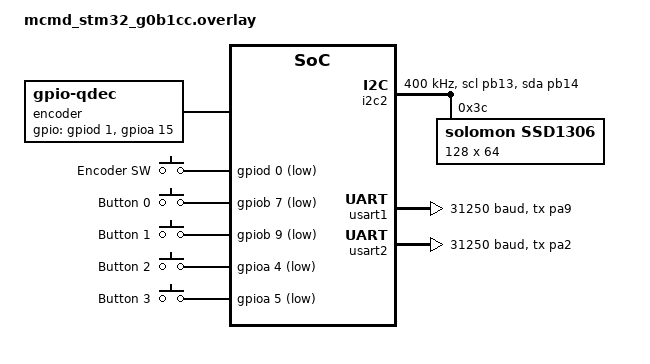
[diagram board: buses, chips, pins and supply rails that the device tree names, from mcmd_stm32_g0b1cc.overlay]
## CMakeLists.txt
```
cmake_minimum_required(VERSION 3.20.0)
list(APPEND DTS_ROOT ${CMAKE_CURRENT_SOURCE_DIR})
find_package(Zephyr REQUIRED HINTS $ENV{ZEPHYR_BASE})
project(custom_mcmd)
zephyr_include_directories(include)
target_sources(app PRIVATE 
        src/main.c
        src/digee_ctrl.c
        src/digee_ui.c
        src/display_hal.c
        src/ssd1306_ctrl.c
        
        src/md_encoder.c
        src/buttons.c
        src/midi.c
        src/clocks.c)
```

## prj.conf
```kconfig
CONFIG_GPIO=y
CONFIG_LOG=y
CONFIG_LOG_MODE_IMMEDIATE=y
CONFIG_LOG_DEFAULT_LEVEL=3
CONFIG_LOG_PRINTK=y
CONFIG_CONSOLE=y
CONFIG_SENSOR=y
CONFIG_BOOT_DELAY=500
CONFIG_I2C=y
CONFIG_DISPLAY=y
CONFIG_COUNTER=y
CONFIG_TIMING_FUNCTIONS=y
CONFIG_SENSOR_ASYNC_API=y
CONFIG_SYSTEM_WORKQUEUE_STACK_SIZE=2048
CONFIG_MAIN_STACK_SIZE=2048
CONFIG_STACK_SENTINEL=y
CONFIG_HW_STACK_PROTECTION=y
CONFIG_INPUT=y
CONFIG_PICOLIBC=y
CONFIG_STDOUT_CONSOLE=y
CONFIG_UART_CONSOLE=y
CONFIG_PRINTK=y
# CONFIG_INPUT_EVENT_DUMP=y
CONFIG_INPUT_MODE_SYNCHRONOUS=y
CONFIG_TICKLESS_KERNEL=y
CONFIG_SYS_CLOCK_TICKS_PER_SEC=100000
```

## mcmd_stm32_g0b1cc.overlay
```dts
/*
 * Application overlay for mcmd_stm32_g0b1cc
 * Adapted from a previous STM32F401CC overlay.
 *
 * Changes from the F401 version:
 *  - Encoder switched from STM32 hardware timer QDEC (TIM3) to software
 *    gpio-qdec, since TIM3 CH1/CH2 aren't wired to the encoder on this
 *    board. SPI1 no longer needs to be disabled as a result (it was only
 *    disabled before to free PA6/PA7 for TIM3).
 *  - OLED moved from I2C1 (PB8/PB9) to I2C2 (PB13/PB14): PB9 is now a
 *    button pin, and PB7 (I2C1's other SDA option) is also a button pin,
 *    so I2C1 has no free SDA pin left. I2C2 doesn't collide with anything
 *    else on this board yet.
 *  - Button pins changed to PB7, PB9, PA4, PA5 per your new wiring.
 *  - Encoder switch moved to PD0 (was PB6 on the F401 board).
 */

#include <zephyr/dt-bindings/i2c/i2c.h>
#include <zephyr/dt-bindings/input/input-event-codes.h>

/* OLED on I2C2 (PB13=SCL, PB14=SDA) */
&i2c2 {
	status = "okay";
	pinctrl-0 = <&i2c2_scl_pb13 &i2c2_sda_pb14>;
	pinctrl-names = "default";
	clock-frequency = <I2C_BITRATE_FAST>;

	ssd1306: ssd1306@3c {
		compatible = "solomon,ssd1306";
		reg = <0x3c>;
		width = <128>;
		height = <64>;
		segment-offset = <0>;
		page-offset = <0>;
		display-offset = <0>;
		multiplex-ratio = <63>;
		prechargep = <0x22>;
		segment-remap;
		com-invdir;
	};
};

/* MIDI OUT (master) - single-wire, TX only, PA9 */
&usart1 {
	status = "okay";
	current-speed = <31250>;
	pinctrl-0 = <&usart1_tx_pa9>;
	pinctrl-names = "default";
	single-wire;
};

/* MIDI OUT (poly) - single-wire, TX only, PA2 */
&usart2 {
	status = "okay";
	current-speed = <31250>;
	pinctrl-0 = <&usart2_tx_pa2>;
	pinctrl-names = "default";
	single-wire;
};

/ {
	chosen {
		zephyr,display = &ssd1306;
		/* usart1 remains console/shell-uart from the base board dts
		 * unless you override it here. If you want NO console since
		 * usart1 is now MIDI-only, uncomment and repoint elsewhere
		 * (e.g. usart4, your debug UART):
		 */
		/* zephyr,console = &usart4; */
		/* zephyr,shell-uart = &usart4; */
	};

	aliases {
		qdec0            = &encoder;
		midi-master-uart = &usart1;
		midi-poly-uart   = &usart2;
	};

	/* Rotary encoder - software GPIO qdec (no hardware timer needed) */
	encoder: qdec {
		compatible = "gpio-qdec";
		gpios = <&gpiod 1 (GPIO_PULL_UP | GPIO_ACTIVE_HIGH)>,   /* ENC_A = PD1 */
			<&gpioa 15 (GPIO_PULL_UP | GPIO_ACTIVE_HIGH)>;  /* ENC_B = PA15 */
		steps-per-period = <4>;   /* adjust if your encoder isn't 4x/detent */
		zephyr,axis = <INPUT_REL_WHEEL>;
		sample-time-us = <2000>;
		idle-timeout-ms = <200>;
	};

	encodersw {
		compatible = "gpio-keys";

		encodersw0: encoder_sw0 {
			gpios = <&gpiod 0 (GPIO_ACTIVE_LOW | GPIO_PULL_UP)>;  /* SW = PD0 */
			label = "Encoder SW";
			zephyr,code = <INPUT_KEY_ENTER>;
		};
	};

	buttons {
		compatible = "gpio-keys";

		button0: button_0 {
			gpios = <&gpiob 7 (GPIO_ACTIVE_LOW | GPIO_PULL_UP)>;
			label = "Button 0";
			zephyr,code = <INPUT_KEY_0>;
		};
		button1: button_1 {
			gpios = <&gpiob 9 (GPIO_ACTIVE_LOW | GPIO_PULL_UP)>;
			label = "Button 1";
			zephyr,code = <INPUT_KEY_1>;
		};
		button2: button_2 {
			gpios = <&gpioa 4 (GPIO_ACTIVE_LOW | GPIO_PULL_UP)>;
			label = "Button 2";
			zephyr,code = <INPUT_KEY_2>;
		};
		button3: button_3 {
			gpios = <&gpioa 5 (GPIO_ACTIVE_LOW | GPIO_PULL_UP)>;
			label = "Button 3";
			zephyr,code = <INPUT_KEY_3>;
		};
	};
};
```

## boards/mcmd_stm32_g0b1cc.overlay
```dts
#include <zephyr/dt-bindings/i2c/i2c.h>
#include <zephyr/dt-bindings/input/input-event-codes.h>
#include <zephyr/dt-bindings/gpio/gpio.h>

/* OLED on I2C2 (PB13=SCL, PB14=SDA) */
&i2c2 {
	status = "okay";
	pinctrl-0 = <&i2c2_scl_pb10 &i2c2_sda_pb11>;
	pinctrl-names = "default";
	clock-frequency = <I2C_BITRATE_FAST>;

	ssd1306: ssd1306@3c {
		compatible = "solomon,ssd1306";
		reg = <0x3c>;
		width = <128>;
		height = <64>;
		segment-offset = <0>;
		page-offset = <0>;
		display-offset = <0>;
		multiplex-ratio = <63>;
		prechargep = <0x22>;
		segment-remap;
		com-invdir;
	};
};

/* MIDI OUT (poly) - single-wire, TX only, PA9 */
&usart1 {
	status = "okay";
	current-speed = <31250>;
	pinctrl-0 = <&usart1_tx_pa9>;
	pinctrl-names = "default";
	single-wire;
};

/* MIDI OUT (master) - single-wire, TX only, PA2 */
&usart2 {
	status = "okay";
	current-speed = <31250>;
	pinctrl-0 = <&usart2_tx_pa2>;
	pinctrl-names = "default";
	single-wire;
};

/ {
	chosen {
		zephyr,display = &ssd1306;
		/* usart1 remains console/shell-uart from the base board dts
		 * unless you override it here. If you want NO console since
		 * usart1 is now MIDI-only, uncomment and repoint elsewhere
		 * (e.g. usart4, your debug UART):
		 */
		zephyr,console = &usart4;
		zephyr,shell-uart = &usart4;
	};

	aliases {
		midi-master-uart = &usart2;
		midi-poly-uart   = &usart1;
	};

	md_encoder: md-encoder {
        compatible = "digee,md-encoder";
        gpios = <&gpiod 0 (GPIO_ACTIVE_HIGH | GPIO_PULL_UP)>, /* phase A */
                <&gpioa 15 (GPIO_ACTIVE_HIGH | GPIO_PULL_UP)>, /* phase B */
				<&gpiod 1 (GPIO_ACTIVE_HIGH | GPIO_PULL_UP)>; /* SW */
    };

	buttons: buttons {
		compatible = "gpio-keys";

		button0: button_0 {
			gpios = <&gpiob 7 (GPIO_ACTIVE_LOW | GPIO_PULL_UP)>;
			label = "Button 0";
			zephyr,code = <INPUT_KEY_0>;
		};
		button1: button_1 {
			gpios = <&gpiob 9 (GPIO_ACTIVE_LOW | GPIO_PULL_UP)>;
			label = "Button 1";
			zephyr,code = <INPUT_KEY_1>;
		};
		button2: button_2 {
			gpios = <&gpioa 4 (GPIO_ACTIVE_LOW | GPIO_PULL_UP)>;
			label = "Button 2";
			zephyr,code = <INPUT_KEY_2>;
		};
		button3: button_3 {
			gpios = <&gpioa 5 (GPIO_ACTIVE_LOW | GPIO_PULL_UP)>;
			label = "Button 3";
			zephyr,code = <INPUT_KEY_3>;
		};
	};
};
```

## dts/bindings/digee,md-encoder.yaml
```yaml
description: Digee manual GPIO quadrature encoder (A/B phase pins)

compatible: "digee,md-encoder"

gpio-cells:
  - pin
  - flags

properties:
  gpios:
    type: phandle-array
    required: true
    description: GPIO phase A and phase B pins, in order [A, B]
```

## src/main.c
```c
#include <stdint.h>
#include <zephyr/kernel.h>
#include <zephyr/logging/log.h>
#include <zephyr/drivers/i2c.h>
#include "digee_ctrl.h"
#include "clocks.h"
#include <zephyr/drivers/sensor.h>


LOG_MODULE_REGISTER(main, LOG_LEVEL_INF);

#define I2C_NODE DT_NODELABEL(i2c1)
#define UPDATE_DELAY 100

int main(void)
{   
    
    printf("Application started\n");

    digee_init();
    midi_clock_timer_init();

    uint32_t last_update = 0;

    while (1) {
        // midi_clock_poll();
        
        uint32_t now = k_uptime_get_32();
        if ((now - last_update) >= UPDATE_DELAY) {
            last_update = now;
            digee_update();
            digee_ui_update();
            
        }
    }
    return 0;
}
```

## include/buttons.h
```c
#ifndef BUTTONS_H
#define BUTTONS_H

#include <stdint.h>

typedef enum {
    BUTTON_1 = 0,
    BUTTON_2,
    BUTTON_4,
    BUTTON_8,
    BUTTON_COUNT
} button_id_t;

typedef enum {
    BUTTON_EVT_PRESSED,
    BUTTON_EVT_RELEASED
} button_evt_t;

typedef void (*button_cb_t)(button_id_t id, button_evt_t);

int buttons_init(button_cb_t);

#endif
```

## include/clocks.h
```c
#ifndef CLOCKS_H
#define CLOCKS_H

#include "midi.h"
#include <stdint.h>
#include <zephyr/kernel.h>
#include <stdbool.h>

#include <zephyr/spinlock.h>

#define CLOCK_TIMER_PRIO  10

#define UCLOCK_INTERNAL 0
#define UCLOCK_EXTERNAL 1

typedef enum {
    MASTER_CLOCK = 0,
    POLY_CLOCK,
} clock_type_t;

typedef struct {
    volatile bool      divide_s;
    volatile bool      paused;
    uint8_t            binary;
    uint8_t            bpm;
} clock_controller_t;

typedef struct {
    midi_dev_t        *midi;
    volatile uint32_t  interval_us;
    volatile uint32_t  next_tick_us;
    volatile uint8_t   tick;
    volatile bool      running;
    clock_type_t       clock_id;  
} midi_clock_dev_t;



#define BPM_TO_US(bpm)         (60000000u / ((bpm) * 24u))
#define POLY_BPM_TO_US_DIV(bpm, num)  (((60000000u) * (16)) / ((bpm) * 24u * (num)))
#define POLY_BPM_TO_US_MULT(bpm, num)   (((60000000u) * (num)) / ((bpm) * 24u * (16)))
uint32_t POLY_BPM_TO_US(clock_controller_t *dev);

typedef void (*step_cb_t)(uint8_t step);
void clock_set_step_callback(step_cb_t cb);

int  clock_ctrl_init(clock_controller_t *dev);
int  clock_init(midi_clock_dev_t *dev, midi_dev_t *midi, clock_type_t type);
void clock_start(clock_controller_t *dev);
void clock_stop(clock_controller_t *dev);
void clock_update(clock_controller_t *dev);
// void midi_clock_poll(void);
void midi_clock_timer_init(void);

void midi_clock_start(midi_clock_dev_t *dev);
void midi_clock_stop(midi_clock_dev_t *dev);
void midi_clock_update(midi_clock_dev_t *dev, clock_controller_t *clock);
void midi_clock_update_poly(midi_clock_dev_t *dev, uint8_t bpm, bool divide, uint8_t binary_prev_num);
void midi_clock_sync_poly(midi_clock_dev_t *dev, uint8_t bpm, bool divide, uint8_t binary_new_num);

void midi_clock_set_mode(uint8_t mode);
void midi_clock_clock_me(void);
float midi_clock_get_tempo(void);

#endif
```

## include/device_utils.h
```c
#ifndef DEVICE_UTILS_H
#define DEVICE_UTILS_H

#include <zephyr/device.h>

#define DEVICE_INIT_CHECK(dev, name)             \
    do {                                         \
        if (!device_is_ready(dev)) {             \
            LOG_ERR(name " device not ready");   \
            return -ENODEV;                      \
        }                                        \
        LOG_INF(name " device ready");           \
    } while (0)

#endif
```

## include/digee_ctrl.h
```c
#ifndef DIGEE_CTRL_H
#define  DIGEE_CTRL_H

#include <stdint.h>
#include <stdbool.h>
#include "clocks.h"
#include "md_encoder.h"

#define DIGEE_FIXED     16
#define BINARY_ONE      0
#define BINARY_TWO      1
#define BINARY_FOUR     2
#define BINARY_EIGHT    3

typedef enum {
    MCMD_ACTIVE_PAUSED,
    MCMD_ACTIVE_PLAYING,
    MCMD_ACTIVE_PAUSE,
    MCMD_ACTIVE_PLAY
} MCMD_ACTIVE_STATE;

typedef enum {
    MCMD_MATH_DIVIDED,
    MCMD_MATH_MULTIPLIED,
    MCMD_MATH_DIVIDE,
    MCMD_MATH_MULTIPLY
} MCMD_MATH_STATE;

typedef struct {
    uint8_t             binary_ui;
    bool                divide_s_ui;
    MCMD_ACTIVE_STATE   ACTIVE_S;
    MCMD_MATH_STATE     MATH_S;
    md_encoder_btn_evt_t    enc_evt;
    clock_controller_t  clock;
} digee_state_t;

// extern volatile bool ui_dirty;

/* Initialise device state and hardware. Call once at boot. */
void digee_init(void);

/* Main update tick — call from application thread or main loop. */
void digee_update(void);

void digee_ui_update(void);

/* ------------------------------------------------------------------ */
/* State accessors                                                      */
/* ------------------------------------------------------------------ */

/* Returns a read-only pointer to current device state.
 * UI layer uses this to read values for rendering. */
const digee_state_t *digee_get_state(void);


/* ------------------------------------------------------------------ */
/* State mutators — only digee_ctrl changes state                      */
/* ------------------------------------------------------------------ */
void digee_update_clocks();
void digee_increment_bpm(int8_t by);
void digee_set_bpm_poly(uint16_t bpm);
void digee_set_custom(uint8_t custom);
void digee_change_playstate(void);
void digee_change_dividestate(void);


void digee_toggle_pause(void);
void digee_toggle_divide(void);
void digee_toggle_invert(void);
void digee_set_equation_flag(bool value);

#endif /* DIGEE_CTRL_H */
```

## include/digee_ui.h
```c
#ifndef DIGEE_UI_H
#define DIGEE_UI_H

#include "digee_ctrl.h"

/*
 * digee_ui.h - Presentation Layer
 *
 * Reads digee_state_t and composes the display. Never owns state,
 * never mutates digee_state_t, never touches the display device.
 *
 * Drawing order for a full redraw:
 *   1. ui_draw_full() — clears buffer and redraws all elements
 *
 * Or redraw individual regions when only one thing changes:
 *   ui_draw_bpm(), ui_draw_fraction(), etc.
 *
 * After any draw call, the caller is responsible for flushing
 * via display_hal_flush().
 */

/* ------------------------------------------------------------------ */
/* Layout constants                                                     */
/* ------------------------------------------------------------------ */

#define LOGO_X          6
#define LOGO_Y          20
#define LOGO_W          116
#define LOGO_H          25

#define PLAYSTATE_X     80
#define PLAYSTATE_Y     12
#define PLAYSTATE_W     10
#define PLAYSTATE_H     16

#define MATHSTATE_X     80
#define MATHSTATE_Y     38
#define MATHSTATE_W     10
#define MATHSTATE_H     16

#define FRACTION_X      48
#define FRACTION_X_SINGLE 53
#define FRACTION_TOP_Y  10
#define FRACTION_BOT_Y  37
#define FRACTION_W      20
#define FRACTION_H      16

#define BPM_X           11
#define BPM_X_QUAD      4
#define BPM_X_TRIPLE    12
#define BPM_X_DOUBLE    20
#define BPM_X_SINGLE    29
#define BPM_WIDTH       37
#define BPM_MAIN_Y      14
#define BPM_POLY_Y      46

#define DIGIT_X         112

/* ------------------------------------------------------------------ */
/* Boot sequence                                                        */
/* ------------------------------------------------------------------ */

/* Runs the boot animation then clears the buffer.
 * Blocks for the duration of the animation. */
void ui_boot(const char *version);

/* ------------------------------------------------------------------ */
/* Full redraw                                                          */
/* ------------------------------------------------------------------ */

/* Clears the buffer and redraws all UI elements from current state. */
void ui_draw_full(const digee_state_t *s);

/* ------------------------------------------------------------------ */
/* UI internal calc                                                     */
/* ------------------------------------------------------------------ */
uint8_t bpm_x_offset(uint16_t bpm);
uint16_t calc_ui_poly(const digee_state_t *s);

/* ------------------------------------------------------------------ */
/* Partial redraws                                                      */
/* ------------------------------------------------------------------ */
void ui_draw_bpm(const digee_state_t *s);
void ui_draw_fraction(const digee_state_t *s);
void ui_draw_playstate(const digee_state_t *s);
void ui_draw_mathstate(const digee_state_t *s);
void ui_draw_digits(const digee_state_t *s);


#endif /* DIGEE_UI_H */
```

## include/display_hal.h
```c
#ifndef DISPLAY_HAL_H
#define DISPLAY_HAL_H
 
#include <zephyr/kernel.h>
#include <zephyr/drivers/display.h>
#include <zephyr/display/cfb.h>
// #include <stdbool.h> // do we even need this

int display_hal_init(void);

int display_hal_flush(void);

int display_hal_print(uint16_t x, uint16_t y, const char *str);
void display_hal_clear_text(void);
 
#endif /* DISPLAY_HAL_H */
```

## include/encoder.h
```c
#ifndef ENCODER_H
#define ENCODER_H

#include <stdint.h>

typedef void (*encoder_rt_cb_t)(int32_t delta);

/**
 * @param cb      Called with +1 or -1 on each detent step.
 * @param detent  Raw counts per physical click (e.g. 18).
 * @return 0 on success, negative errno on failure.
 */
int encoder_rt_init(encoder_rt_cb_t cb, int32_t detent);

typedef enum {
    ENC_BUTTON_EVT_NONE,
    ENC_BUTTON_EVT_RELEASED,
    ENC_BUTTON_EVT_DOUBLE_PRESS
} enc_button_evt_t;

typedef void (*encoder_btn_cb_t)(enc_button_evt_t);

int encoder_btn_init(encoder_btn_cb_t cb);

#endif /* ENCODER_H */
```

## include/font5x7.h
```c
#ifndef FONT5X7_H
#define FONT5X7_H

#include <stdint.h>

/* 
 * 5x7 bitmap font, column format (one byte per column, LSB = top row)
 * Covers ASCII 32 (space) to 126 (~)
 * 95 characters * 5 bytes = 475 bytes total in flash
 *
 * To get a character: font5x7[c - 32]
 * Each entry is 5 bytes, one per column, bits 0-6 = rows top to bottom
 */

#define FONT5X7_WIDTH   5
#define FONT5X7_HEIGHT  7
#define FONT5X7_FIRST   32   /* ASCII space */
#define FONT5X7_LAST    126  /* ASCII ~ */

static const uint8_t font5x7[][FONT5X7_WIDTH] = {
    {0x00, 0x00, 0x00, 0x00, 0x00}, /* 32 space */
    {0x00, 0x00, 0x5F, 0x00, 0x00}, /* 33 ! */
    {0x00, 0x07, 0x00, 0x07, 0x00}, /* 34 " */
    {0x14, 0x7F, 0x14, 0x7F, 0x14}, /* 35 # */
    {0x24, 0x2A, 0x7F, 0x2A, 0x12}, /* 36 $ */
    {0x23, 0x13, 0x08, 0x64, 0x62}, /* 37 % */
    {0x36, 0x49, 0x55, 0x22, 0x50}, /* 38 & */
    {0x00, 0x05, 0x03, 0x00, 0x00}, /* 39 ' */
    {0x00, 0x1C, 0x22, 0x41, 0x00}, /* 40 ( */
    {0x00, 0x41, 0x22, 0x1C, 0x00}, /* 41 ) */
    {0x14, 0x08, 0x3E, 0x08, 0x14}, /* 42 * */
    {0x08, 0x08, 0x3E, 0x08, 0x08}, /* 43 + */
    {0x00, 0x50, 0x30, 0x00, 0x00}, /* 44 , */
    {0x08, 0x08, 0x08, 0x08, 0x08}, /* 45 - */
    {0x00, 0x60, 0x60, 0x00, 0x00}, /* 46 . */
    {0x20, 0x10, 0x08, 0x04, 0x02}, /* 47 / */
    {0x3E, 0x51, 0x49, 0x45, 0x3E}, /* 48 0 */
    {0x00, 0x42, 0x7F, 0x40, 0x00}, /* 49 1 */
    {0x42, 0x61, 0x51, 0x49, 0x46}, /* 50 2 */
    {0x21, 0x41, 0x45, 0x4B, 0x31}, /* 51 3 */
    {0x18, 0x14, 0x12, 0x7F, 0x10}, /* 52 4 */
    {0x27, 0x45, 0x45, 0x45, 0x39}, /* 53 5 */
    {0x3C, 0x4A, 0x49, 0x49, 0x30}, /* 54 6 */
    {0x01, 0x71, 0x09, 0x05, 0x03}, /* 55 7 */
    {0x36, 0x49, 0x49, 0x49, 0x36}, /* 56 8 */
    {0x06, 0x49, 0x49, 0x29, 0x1E}, /* 57 9 */
    {0x00, 0x36, 0x36, 0x00, 0x00}, /* 58 : */
    {0x00, 0x56, 0x36, 0x00, 0x00}, /* 59 ; */
    {0x08, 0x14, 0x22, 0x41, 0x00}, /* 60 < */
    {0x14, 0x14, 0x14, 0x14, 0x14}, /* 61 = */
    {0x00, 0x41, 0x22, 0x14, 0x08}, /* 62 > */
    {0x02, 0x01, 0x51, 0x09, 0x06}, /* 63 ? */
    {0x32, 0x49, 0x79, 0x41, 0x3E}, /* 64 @ */
    {0x7E, 0x11, 0x11, 0x11, 0x7E}, /* 65 A */
    {0x7F, 0x49, 0x49, 0x49, 0x36}, /* 66 B */
    {0x3E, 0x41, 0x41, 0x41, 0x22}, /* 67 C */
    {0x7F, 0x41, 0x41, 0x22, 0x1C}, /* 68 D */
    {0x7F, 0x49, 0x49, 0x49, 0x41}, /* 69 E */
    {0x7F, 0x09, 0x09, 0x09, 0x01}, /* 70 F */
    {0x3E, 0x41, 0x49, 0x49, 0x7A}, /* 71 G */
    {0x7F, 0x08, 0x08, 0x08, 0x7F}, /* 72 H */
    {0x00, 0x41, 0x7F, 0x41, 0x00}, /* 73 I */
    {0x20, 0x40, 0x41, 0x3F, 0x01}, /* 74 J */
    {0x7F, 0x08, 0x14, 0x22, 0x41}, /* 75 K */
    {0x7F, 0x40, 0x40, 0x40, 0x40}, /* 76 L */
    {0x7F, 0x02, 0x0C, 0x02, 0x7F}, /* 77 M */
    {0x7F, 0x04, 0x08, 0x10, 0x7F}, /* 78 N */
    {0x3E, 0x41, 0x41, 0x41, 0x3E}, /* 79 O */
    {0x7F, 0x09, 0x09, 0x09, 0x06}, /* 80 P */
    {0x3E, 0x41, 0x51, 0x21, 0x5E}, /* 81 Q */
    {0x7F, 0x09, 0x19, 0x29, 0x46}, /* 82 R */
    {0x46, 0x49, 0x49, 0x49, 0x31}, /* 83 S */
    {0x01, 0x01, 0x7F, 0x01, 0x01}, /* 84 T */
    {0x3F, 0x40, 0x40, 0x40, 0x3F}, /* 85 U */
    {0x1F, 0x20, 0x40, 0x20, 0x1F}, /* 86 V */
    {0x3F, 0x40, 0x38, 0x40, 0x3F}, /* 87 W */
    {0x63, 0x14, 0x08, 0x14, 0x63}, /* 88 X */
    {0x07, 0x08, 0x70, 0x08, 0x07}, /* 89 Y */
    {0x61, 0x51, 0x49, 0x45, 0x43}, /* 90 Z */
    {0x00, 0x7F, 0x41, 0x41, 0x00}, /* 91 [ */
    {0x02, 0x04, 0x08, 0x10, 0x20}, /* 92 \ */
    {0x00, 0x41, 0x41, 0x7F, 0x00}, /* 93 ] */
    {0x04, 0x02, 0x01, 0x02, 0x04}, /* 94 ^ */
    {0x40, 0x40, 0x40, 0x40, 0x40}, /* 95 _ */
    {0x00, 0x01, 0x02, 0x04, 0x00}, /* 96 ` */
    {0x20, 0x54, 0x54, 0x54, 0x78}, /* 97 a */
    {0x7F, 0x48, 0x44, 0x44, 0x38}, /* 98 b */
    {0x38, 0x44, 0x44, 0x44, 0x20}, /* 99 c */
    {0x38, 0x44, 0x44, 0x48, 0x7F}, /* 100 d */
    {0x38, 0x54, 0x54, 0x54, 0x18}, /* 101 e */
    {0x08, 0x7E, 0x09, 0x01, 0x02}, /* 102 f */
    {0x0C, 0x52, 0x52, 0x52, 0x3E}, /* 103 g */
    {0x7F, 0x08, 0x04, 0x04, 0x78}, /* 104 h */
    {0x00, 0x44, 0x7D, 0x40, 0x00}, /* 105 i */
    {0x20, 0x40, 0x44, 0x3D, 0x00}, /* 106 j */
    {0x7F, 0x10, 0x28, 0x44, 0x00}, /* 107 k */
    {0x00, 0x41, 0x7F, 0x40, 0x00}, /* 108 l */
    {0x7C, 0x04, 0x18, 0x04, 0x78}, /* 109 m */
    {0x7C, 0x08, 0x04, 0x04, 0x78}, /* 110 n */
    {0x38, 0x44, 0x44, 0x44, 0x38}, /* 111 o */
    {0x7C, 0x14, 0x14, 0x14, 0x08}, /* 112 p */
    {0x08, 0x14, 0x14, 0x18, 0x7C}, /* 113 q */
    {0x7C, 0x08, 0x04, 0x04, 0x08}, /* 114 r */
    {0x48, 0x54, 0x54, 0x54, 0x20}, /* 115 s */
    {0x04, 0x3F, 0x44, 0x40, 0x20}, /* 116 t */
    {0x3C, 0x40, 0x40, 0x40, 0x7C}, /* 117 u */
    {0x1C, 0x20, 0x40, 0x20, 0x1C}, /* 118 v */
    {0x3C, 0x40, 0x30, 0x40, 0x3C}, /* 119 w */
    {0x44, 0x28, 0x10, 0x28, 0x44}, /* 120 x */
    {0x0C, 0x50, 0x50, 0x50, 0x3C}, /* 121 y */
    {0x44, 0x64, 0x54, 0x4C, 0x44}, /* 122 z */
    {0x00, 0x08, 0x36, 0x41, 0x00}, /* 123 { */
    {0x00, 0x00, 0x7F, 0x00, 0x00}, /* 124 | */
    {0x00, 0x41, 0x36, 0x08, 0x00}, /* 125 } */
    {0x10, 0x08, 0x08, 0x10, 0x08}, /* 126 ~ */
};

#endif /* FONT5X7_H */
```

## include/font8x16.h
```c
/*
 * font8x16_roboto.h — RobotoMono 8x16 bitmap font, full ASCII 32-126
 *
 * Row format: 1 byte per row, 8 pixels wide (MSB = leftmost pixel)
 * 16 rows per character (rows 0-3 blank, rows 4-14 ink, row 15 blank)
 *
 * Reference glyphs (0-9 + - * / % . space :) are preserved exactly.
 * Remaining glyphs rendered from RobotoMono-VariableFont_wght.ttf
 *
 * Usage:
 *   const roboto_glyph_t *g = font_roboto_get('A');
 *   uint8_t row_byte = g->data[row]; // MSB = leftmost pixel
 */

#ifndef FONT8X16_ROBOTO_H
#define FONT8X16_ROBOTO_H

#include <stdint.h>

#define FONT_ROBOTO_WIDTH   8
#define FONT_ROBOTO_HEIGHT  16

typedef struct {
    char    c;
    uint8_t data[FONT_ROBOTO_HEIGHT];
} roboto_glyph_t;

static const roboto_glyph_t font_roboto_8x16[] = {
    {' ', {0x00, 0x00, 0x00, 0x00, 0x00, 0x00, 0x00, 0x00, 0x00, 0x00, 0x00, 0x00, 0x00, 0x00, 0x00, 0x00}},  /* ref *//* 32 */
    {'!', {0x00, 0x00, 0x00, 0x00, 0x00, 0x7C, 0x7C, 0x7C, 0x7C, 0x7C, 0x00, 0x3C, 0x3C, 0x00, 0x00, 0x00}},          /* 33 */
    {'"', {0x00, 0x00, 0x00, 0x00, 0x00, 0x66, 0x66, 0x00, 0x00, 0x00, 0x00, 0x00, 0x00, 0x00, 0x00, 0x00}},          /* 34 */
    {'#', {0x00, 0x00, 0x00, 0x00, 0x00, 0x14, 0x14, 0x7E, 0x34, 0x3C, 0x7E, 0x28, 0x00, 0x00, 0x00, 0x00}},          /* 35 */
    {'$', {0x00, 0x00, 0x00, 0x00, 0x18, 0x3C, 0x66, 0x60, 0x38, 0x0E, 0x42, 0x66, 0x18, 0x00, 0x00, 0x00}},          /* 36 */
    {'%', {0x00, 0x00, 0x00, 0x00, 0x30, 0x48, 0x4A, 0x4A, 0x34, 0x04, 0x0B, 0x0C, 0x14, 0x04, 0x03, 0x00}},  /* ref *//* 37 */
    {'&', {0x00, 0x00, 0x00, 0x00, 0x00, 0x38, 0x2C, 0x28, 0x30, 0x7A, 0x4C, 0x6C, 0x30, 0x00, 0x00, 0x00}},          /* 38 */
    {'\'', {0x00, 0x00, 0x00, 0x00, 0x00, 0x7E, 0x7E, 0x00, 0x00, 0x00, 0x00, 0x00, 0x00, 0x00, 0x00, 0x00}},          /* 39 */
    {'(', {0x00, 0x00, 0x00, 0x00, 0x06, 0x1C, 0x30, 0x70, 0x60, 0x60, 0x60, 0x70, 0x30, 0x18, 0x06, 0x00}},          /* 40 */
    {')', {0x00, 0x00, 0x00, 0x00, 0x60, 0x18, 0x0C, 0x0C, 0x06, 0x06, 0x06, 0x0C, 0x0C, 0x18, 0x60, 0x00}},          /* 41 */
    {'*', {0x00, 0x00, 0x00, 0x00, 0x08, 0x08, 0x6B, 0x3E, 0x1C, 0x14, 0x22, 0x00, 0x00, 0x00, 0x00, 0x00}},  /* ref *//* 42 */
    {'+', {0x00, 0x00, 0x00, 0x00, 0x00, 0x00, 0x00, 0x08, 0x08, 0x08, 0x7F, 0x08, 0x08, 0x08, 0x00, 0x00}},  /* ref *//* 43 */
    {',', {0x00, 0x00, 0x00, 0x00, 0x00, 0x00, 0x00, 0x00, 0x00, 0x00, 0x00, 0x1E, 0x1E, 0x3C, 0x00, 0x00}},          /* 44 */
    {'-', {0x00, 0x00, 0x00, 0x00, 0x00, 0x00, 0x00, 0x00, 0x00, 0x00, 0x7C, 0x00, 0x00, 0x00, 0x00, 0x00}},  /* ref *//* 45 */
    {'.', {0x00, 0x00, 0x00, 0x00, 0x00, 0x00, 0x00, 0x00, 0x00, 0x00, 0x00, 0x00, 0x00, 0x18, 0x18, 0x00}},  /* ref *//* 46 */
    {'/', {0x00, 0x00, 0x00, 0x00, 0x02, 0x04, 0x04, 0x04, 0x08, 0x08, 0x08, 0x10, 0x10, 0x30, 0x20, 0x20}},  /* ref *//* 47 */
    {'0', {0x00, 0x00, 0x00, 0x00, 0x3C, 0x24, 0x42, 0x42, 0x4E, 0x5A, 0x72, 0x42, 0x42, 0x24, 0x3C, 0x00}},  /* ref *//* 48 */
    {'1', {0x00, 0x00, 0x00, 0x00, 0x00, 0x38, 0x68, 0x08, 0x08, 0x08, 0x08, 0x08, 0x08, 0x08, 0x08, 0x00}},  /* ref *//* 49 */
    {'2', {0x00, 0x00, 0x00, 0x00, 0x3C, 0x66, 0x42, 0x02, 0x02, 0x04, 0x08, 0x18, 0x30, 0x20, 0x7F, 0x00}},  /* ref *//* 50 */
    {'3', {0x00, 0x00, 0x00, 0x00, 0x3C, 0x62, 0x42, 0x02, 0x06, 0x1C, 0x06, 0x02, 0x42, 0x66, 0x3C, 0x00}},  /* ref *//* 51 */
    {'4', {0x00, 0x00, 0x00, 0x00, 0x02, 0x06, 0x0E, 0x0A, 0x12, 0x32, 0x22, 0x7F, 0x02, 0x02, 0x02, 0x00}},  /* ref *//* 52 */
    {'5', {0x00, 0x00, 0x00, 0x00, 0x3E, 0x20, 0x20, 0x20, 0x7C, 0x26, 0x02, 0x02, 0x42, 0x66, 0x3C, 0x00}},  /* ref *//* 53 */
    {'6', {0x00, 0x00, 0x00, 0x00, 0x1C, 0x30, 0x20, 0x40, 0x5C, 0x66, 0x42, 0x42, 0x42, 0x26, 0x3C, 0x00}},  /* ref *//* 54 */
    {'7', {0x00, 0x00, 0x00, 0x00, 0x7F, 0x03, 0x02, 0x02, 0x04, 0x04, 0x0C, 0x08, 0x18, 0x10, 0x10, 0x00}},  /* ref *//* 55 */
    {'8', {0x00, 0x00, 0x00, 0x00, 0x3C, 0x66, 0x42, 0x42, 0x66, 0x3C, 0x66, 0x42, 0x42, 0x66, 0x3C, 0x00}},  /* ref *//* 56 */
    {'9', {0x00, 0x00, 0x00, 0x00, 0x3C, 0x64, 0x42, 0x42, 0x42, 0x66, 0x3E, 0x02, 0x04, 0x0C, 0x38, 0x00}},  /* ref *//* 57 */
    {':', {0x00, 0x00, 0x00, 0x00, 0x00, 0x00, 0x00, 0x0C, 0x0C, 0x00, 0x00, 0x00, 0x00, 0x0C, 0x0C, 0x00}},  /* ref *//* 58 */
    {';', {0x00, 0x00, 0x00, 0x00, 0x00, 0x00, 0x00, 0x3E, 0x00, 0x00, 0x00, 0x1C, 0x1C, 0x38, 0x00, 0x00}},          /* 59 */
    {'<', {0x00, 0x00, 0x00, 0x00, 0x00, 0x00, 0x00, 0x06, 0x38, 0x70, 0x1E, 0x02, 0x00, 0x00, 0x00, 0x00}},          /* 60 */
    {'=', {0x00, 0x00, 0x00, 0x00, 0x00, 0x00, 0x00, 0x00, 0x7E, 0x00, 0x7E, 0x00, 0x00, 0x00, 0x00, 0x00}},          /* 61 */
    {'>', {0x00, 0x00, 0x00, 0x00, 0x00, 0x00, 0x00, 0x60, 0x1C, 0x0E, 0x78, 0x00, 0x00, 0x00, 0x00, 0x00}},          /* 62 */
    {'?', {0x00, 0x00, 0x00, 0x00, 0x00, 0x3C, 0x46, 0x06, 0x0C, 0x18, 0x00, 0x00, 0x18, 0x00, 0x00, 0x00}},          /* 63 */
    {'@', {0x00, 0x00, 0x00, 0x00, 0x00, 0x1C, 0x22, 0x5A, 0x62, 0x6A, 0x5C, 0x20, 0x18, 0x00, 0x00, 0x00}},          /* 64 */
    {'A', {0x00, 0x00, 0x18, 0x18, 0x18, 0x3C, 0x24, 0x24, 0x7E, 0x66, 0x42, 0xC3, 0x00, 0x00, 0x00, 0x00}},  /* 65 */
    {'B', {0x00, 0x00, 0xFC, 0xC6, 0xC3, 0xC3, 0xFE, 0xFE, 0xC3, 0xC3, 0xC7, 0xFC, 0x00, 0x00, 0x00, 0x00}},  /* 66 */
    {'C', {0x00, 0x00, 0x3C, 0x66, 0xC3, 0xC0, 0x80, 0x80, 0xC0, 0xC3, 0x66, 0x3C, 0x00, 0x00, 0x00, 0x00}},  /* 67 */
    {'D', {0x00, 0x00, 0xF8, 0xCC, 0x82, 0xC3, 0xC3, 0xC3, 0xC3, 0x82, 0xCE, 0xF8, 0x00, 0x00, 0x00, 0x00}},  /* 68 */
    {'E', {0x00, 0x00, 0xFF, 0xC0, 0xC0, 0xC0, 0xFE, 0xFE, 0xC0, 0xC0, 0xC0, 0xFF, 0x00, 0x00, 0x00, 0x00}},  /* 69 */
    {'F', {0x00, 0x00, 0xFF, 0xC0, 0xC0, 0xC0, 0xC0, 0xFE, 0xC0, 0xC0, 0xC0, 0xC0, 0x00, 0x00, 0x00, 0x00}},  /* 70 */
    {'G', {0x00, 0x00, 0x3C, 0x66, 0xC3, 0xC0, 0x80, 0x8F, 0xC3, 0xC1, 0x63, 0x3E, 0x00, 0x00, 0x00, 0x00}},  /* 71 */
    {'H', {0x00, 0x00, 0x81, 0xC3, 0xC3, 0xC3, 0xFF, 0xFF, 0xC3, 0xC3, 0xC3, 0x83, 0x00, 0x00, 0x00, 0x00}},  /* 72 */
    {'I', {0x00, 0x00, 0xFF, 0x18, 0x18, 0x18, 0x18, 0x18, 0x18, 0x18, 0x18, 0xFF, 0x00, 0x00, 0x00, 0x00}},  /* 73 */
    {'J', {0x00, 0x00, 0x01, 0x03, 0x03, 0x03, 0x03, 0x03, 0x03, 0xC3, 0x66, 0x3C, 0x00, 0x00, 0x00, 0x00}},  /* 74 */
    {'K', {0x00, 0x00, 0x82, 0xC6, 0x8C, 0x98, 0xF0, 0xF8, 0xD8, 0x8C, 0xC6, 0x83, 0x00, 0x00, 0x00, 0x00}},  /* 75 */
    {'L', {0x00, 0x00, 0x80, 0xC0, 0xC0, 0xC0, 0xC0, 0xC0, 0xC0, 0xC0, 0xC0, 0xFF, 0x00, 0x00, 0x00, 0x00}},  /* 76 */
    {'M', {0x00, 0x00, 0xC3, 0xC7, 0xE7, 0xEF, 0xBB, 0xDB, 0xDB, 0xC3, 0xC3, 0x83, 0x00, 0x00, 0x00, 0x00}},  /* 77 */
    {'N', {0x00, 0x00, 0xC1, 0xC3, 0xE3, 0xF3, 0xD3, 0xDB, 0xCF, 0xC7, 0xC7, 0xC3, 0x00, 0x00, 0x00, 0x00}},  /* 78 */
    {'O', {0x00, 0x00, 0x3C, 0x66, 0xC3, 0xC3, 0x83, 0x83, 0xC3, 0xC3, 0x66, 0x3C, 0x00, 0x00, 0x00, 0x00}},  /* 79 */
    {'P', {0x00, 0x00, 0xFC, 0xC6, 0xC3, 0xC3, 0xC3, 0xFC, 0xC0, 0xC0, 0xC0, 0x80, 0x00, 0x00, 0x00, 0x00}},  /* 80 */
    {'Q', {0x00, 0x00, 0x38, 0x66, 0xC2, 0xC3, 0x83, 0x83, 0x83, 0xC2, 0x66, 0x3C, 0x03, 0x00, 0x00, 0x00}},  /* 81 */
    {'R', {0x00, 0x00, 0xF8, 0xC6, 0xC3, 0xC3, 0xC6, 0xFC, 0xCC, 0xC6, 0xC6, 0x83, 0x00, 0x00, 0x00, 0x00}},  /* 82 */
    {'S', {0x00, 0x00, 0x3C, 0x66, 0xC3, 0x40, 0x78, 0x1E, 0x03, 0xC1, 0x63, 0x3C, 0x00, 0x00, 0x00, 0x00}},  /* 83 */
    {'T', {0x00, 0x00, 0xFF, 0x18, 0x18, 0x18, 0x18, 0x18, 0x18, 0x18, 0x18, 0x18, 0x00, 0x00, 0x00, 0x00}},  /* 84 */
    {'U', {0x00, 0x00, 0x81, 0xC3, 0xC3, 0xC3, 0xC3, 0xC3, 0xC3, 0xC3, 0x66, 0x3C, 0x00, 0x00, 0x00, 0x00}},  /* 85 */
    {'V', {0x00, 0x00, 0x81, 0xC3, 0x42, 0x66, 0x24, 0x24, 0x3C, 0x18, 0x18, 0x18, 0x00, 0x00, 0x00, 0x00}},  /* 86 */
    {'W', {0x00, 0x00, 0x99, 0xDB, 0xDB, 0xDB, 0x5A, 0x76, 0x66, 0x66, 0x66, 0x66, 0x00, 0x00, 0x00, 0x00}},  /* 87 */
    {'X', {0x00, 0x00, 0xC3, 0x42, 0x26, 0x3C, 0x18, 0x18, 0x3C, 0x24, 0x62, 0xC3, 0x00, 0x00, 0x00, 0x00}},  /* 88 */
    {'Y', {0x00, 0x00, 0xC3, 0x42, 0x66, 0x24, 0x3C, 0x18, 0x18, 0x18, 0x18, 0x18, 0x00, 0x00, 0x00, 0x00}},  /* 89 */
    {'Z', {0x00, 0x00, 0xFF, 0x07, 0x06, 0x0C, 0x18, 0x10, 0x30, 0x60, 0xC0, 0xFF, 0x00, 0x00, 0x00, 0x00}},  /* 90 */
    {'[', {0x00, 0xFF, 0xF0, 0xF0, 0xF0, 0xF0, 0xF0, 0xF0, 0xF0, 0xF0, 0xF0, 0xF0, 0xF0, 0xFF, 0x00, 0x00}},  /* 91 */
    {'\\', {0x00, 0x00, 0xC0, 0x40, 0x60, 0x30, 0x30, 0x18, 0x08, 0x0C, 0x06, 0x06, 0x02, 0x00, 0x00, 0x00}},  /* 92 */
    {']', {0x00, 0xFF, 0x0F, 0x0F, 0x0F, 0x0F, 0x0F, 0x0F, 0x0F, 0x0F, 0x0F, 0x0F, 0x0F, 0xFF, 0x00, 0x00}},  /* 93 */
    {'^', {0x00, 0x00, 0x18, 0x18, 0x3C, 0x66, 0x43, 0x00, 0x00, 0x00, 0x00, 0x00, 0x00, 0x00, 0x00, 0x00}},  /* 94 */
    {'_', {0x00, 0x00, 0x00, 0x00, 0x00, 0x00, 0x00, 0x00, 0x00, 0x00, 0x00, 0x00, 0xFF, 0x00, 0x00, 0x00}},  /* 95 */
    {'`', {0x00, 0x00, 0x38, 0x0E, 0x00, 0x00, 0x00, 0x00, 0x00, 0x00, 0x00, 0x00, 0x00, 0x00, 0x00, 0x00}},  /* 96 */
    {'a', {0x00, 0x00, 0x00, 0x00, 0x00, 0x7E, 0xC2, 0x1F, 0x77, 0xC3, 0xC7, 0x7B, 0x00, 0x00, 0x00, 0x00}},  /* 97 */
    {'b', {0x00, 0x00, 0xC0, 0xC0, 0xC0, 0xFE, 0xC3, 0xC3, 0xC3, 0xC3, 0xC6, 0xFC, 0x00, 0x00, 0x00, 0x00}},  /* 98 */
    {'c', {0x00, 0x00, 0x00, 0x00, 0x00, 0x7E, 0xC3, 0xC0, 0xC0, 0xC0, 0x63, 0x3C, 0x00, 0x00, 0x00, 0x00}},  /* 99 */
    {'d', {0x00, 0x00, 0x03, 0x03, 0x03, 0x7F, 0xC3, 0xC3, 0xC3, 0xC3, 0x63, 0x3F, 0x00, 0x00, 0x00, 0x00}},  /* 100 */
    {'e', {0x00, 0x00, 0x00, 0x00, 0x00, 0x3E, 0x43, 0xC3, 0xFF, 0xC0, 0x63, 0x3E, 0x00, 0x00, 0x00, 0x00}},  /* 101 */
    {'f', {0x00, 0x06, 0x1F, 0x10, 0x30, 0xFE, 0x30, 0x30, 0x30, 0x30, 0x30, 0x30, 0x00, 0x00, 0x00, 0x00}},  /* 102 */
    {'g', {0x00, 0x00, 0x00, 0x00, 0x00, 0x7F, 0xC3, 0xC3, 0xC3, 0xC3, 0x63, 0x3F, 0x03, 0x66, 0x3C, 0x00}},  /* 103 */
    {'h', {0x00, 0x00, 0xC0, 0xC0, 0xC0, 0xFE, 0xC3, 0xC3, 0xC3, 0xC3, 0xC3, 0xC3, 0x00, 0x00, 0x00, 0x00}},  /* 104 */
    {'i', {0x00, 0x00, 0x18, 0x18, 0x00, 0xF8, 0x18, 0x18, 0x18, 0x18, 0x18, 0xFF, 0x00, 0x00, 0x00, 0x00}},  /* 105 */
    {'j', {0x00, 0x00, 0x03, 0x03, 0x00, 0x7F, 0x03, 0x03, 0x03, 0x03, 0x03, 0x03, 0x03, 0x0E, 0xFC, 0x00}},  /* 106 */
    {'k', {0x00, 0x00, 0xC0, 0xC0, 0xC0, 0xC6, 0xD8, 0xF0, 0xF0, 0xC8, 0xC6, 0x82, 0x00, 0x00, 0x00, 0x00}},  /* 107 */
    {'l', {0x00, 0x00, 0xF8, 0x18, 0x18, 0x18, 0x18, 0x18, 0x18, 0x18, 0x18, 0xFF, 0x00, 0x00, 0x00, 0x00}},  /* 108 */
    {'m', {0x00, 0x00, 0x00, 0x00, 0x00, 0xFF, 0xDB, 0x99, 0x99, 0x99, 0x99, 0x99, 0x00, 0x00, 0x00, 0x00}},  /* 109 */
    {'n', {0x00, 0x00, 0x00, 0x00, 0x00, 0xFE, 0xC3, 0xC3, 0xC3, 0xC3, 0xC3, 0xC3, 0x00, 0x00, 0x00, 0x00}},  /* 110 */
    {'o', {0x00, 0x00, 0x00, 0x00, 0x00, 0x7C, 0xC2, 0xC3, 0xC3, 0xC3, 0x66, 0x3C, 0x00, 0x00, 0x00, 0x00}},  /* 111 */
    {'p', {0x00, 0x00, 0x00, 0x00, 0x00, 0xFE, 0xC3, 0xC3, 0xC3, 0xC3, 0xC6, 0xFC, 0xC0, 0xC0, 0x80, 0x00}},  /* 112 */
    {'q', {0x00, 0x00, 0x00, 0x00, 0x00, 0x7F, 0xC3, 0xC3, 0xC3, 0xC3, 0x63, 0x3F, 0x03, 0x03, 0x01, 0x00}},  /* 113 */
    {'r', {0x00, 0x00, 0x00, 0x00, 0x00, 0xDF, 0xE0, 0xC0, 0xC0, 0xC0, 0xC0, 0xC0, 0x00, 0x00, 0x00, 0x00}},  /* 114 */
    {'s', {0x00, 0x00, 0x00, 0x00, 0x00, 0x7E, 0xC3, 0x60, 0x3E, 0x03, 0xC3, 0x3E, 0x00, 0x00, 0x00, 0x00}},  /* 115 */
    {'t', {0x00, 0x00, 0x00, 0x30, 0x30, 0xFE, 0x30, 0x30, 0x30, 0x30, 0x10, 0x1F, 0x00, 0x00, 0x00, 0x00}},  /* 116 */
    {'u', {0x00, 0x00, 0x00, 0x00, 0x00, 0xC3, 0xC3, 0xC3, 0xC3, 0xC3, 0xC7, 0x7B, 0x00, 0x00, 0x00, 0x00}},  /* 117 */
    {'v', {0x00, 0x00, 0x00, 0x00, 0x00, 0xC3, 0x42, 0x66, 0x24, 0x3C, 0x18, 0x18, 0x00, 0x00, 0x00, 0x00}},  /* 118 */
    {'w', {0x00, 0x00, 0x00, 0x00, 0x00, 0x99, 0xDB, 0x5B, 0x7E, 0x66, 0x66, 0x24, 0x00, 0x00, 0x00, 0x00}},  /* 119 */
    {'x', {0x00, 0x00, 0x00, 0x00, 0x00, 0x42, 0x26, 0x1C, 0x18, 0x3C, 0x66, 0x43, 0x00, 0x00, 0x00, 0x00}},  /* 120 */
    {'y', {0x00, 0x00, 0x00, 0x00, 0x00, 0xC3, 0x42, 0x66, 0x24, 0x3C, 0x18, 0x18, 0x10, 0x30, 0x60, 0x00}},  /* 121 */
    {'z', {0x00, 0x00, 0x00, 0x00, 0x00, 0xFF, 0x06, 0x0C, 0x18, 0x20, 0xE0, 0xFF, 0x00, 0x00, 0x00, 0x00}},  /* 122 */
    {'{', {0x00, 0x00, 0x00, 0x00, 0x06, 0x0C, 0x18, 0x18, 0x18, 0x70, 0x18, 0x18, 0x08, 0x0C, 0x02, 0x00}},          /* 123 */
    {'|', {0x00, 0x00, 0x00, 0x00, 0x00, 0x7E, 0x7E, 0x7E, 0x7E, 0x7E, 0x7E, 0x7E, 0x7E, 0x7E, 0x7E, 0x00}},          /* 124 */
    {'}', {0x00, 0x00, 0x00, 0x00, 0x60, 0x30, 0x18, 0x18, 0x18, 0x0E, 0x18, 0x18, 0x10, 0x30, 0x00, 0x00}},          /* 125 */
    {'~', {0x00, 0x00, 0x00, 0x00, 0x00, 0x00, 0x00, 0x00, 0x20, 0x5A, 0x04, 0x00, 0x00, 0x00, 0x00, 0x00}},          /* 126 */
};

#define FONT_ROBOTO_COUNT (sizeof(font_roboto_8x16) / sizeof(font_roboto_8x16[0]))

/* Look up a glyph by character, returns SPACE glyph if not found */
static inline const roboto_glyph_t *font_roboto_get(char c) {
    for (int i = 0; i < FONT_ROBOTO_COUNT; i++) {
        if (font_roboto_8x16[i].c == c) {
            return &font_roboto_8x16[i];
        }
    }
    return &font_roboto_8x16[0]; /* space */
}

#endif /* FONT8X16_ROBOTO_H */
```

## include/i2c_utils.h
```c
#ifndef I2C_UTILS_H
#define I2C_UTILS_H

#include <zephyr/drivers/i2c.h>

#define I2C_SCAN(i2c_dev)                                                   \
do {                                                                        \
    LOG_INF("Scanning I2C bus...");                                         \
    uint8_t _found = 0;                                                     \
    for (uint8_t _addr = 0x08; _addr < 0x78; _addr++) {                    \
        struct i2c_msg _msg = {                                             \
            .buf   = &(uint8_t){0},                                         \
            .len   = 0,                                                     \
            .flags = I2C_MSG_WRITE | I2C_MSG_STOP,                         \
        };                                                                  \
        if (i2c_transfer(i2c_dev, &_msg, 1, _addr) == 0) {                 \
            LOG_INF("  Found: 0x%02x", _addr);                             \
            _found++;                                                       \
        }                                                                   \
    }                                                                       \
    if (_found == 0) {                                                      \
        LOG_ERR("No I2C devices found - check wiring");                    \
        return -ENODEV;                                                     \
    }                                                                       \
    LOG_INF("Scan complete, %d device(s) found", _found);                  \
} while (0)

#endif
```

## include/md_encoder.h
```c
#ifndef MD_ENCODER_H
#define MD_ENCODER_H

#include <stdint.h>

typedef enum {
    ENC_BUTTON_EVT_NONE,
    ENC_BUTTON_EVT_RELEASED,
    ENC_BUTTON_EVT_DOUBLE_PRESS
} md_encoder_btn_evt_t;

typedef void (*md_encoder_rt_cb_t)(int32_t delta);
typedef void (*md_encoder_btn_cb_t)(md_encoder_btn_evt_t evt);

int md_encoder_rt_init(md_encoder_rt_cb_t cb, int32_t detent);
int md_encoder_btn_init(md_encoder_btn_cb_t cb, uint16_t debounce);

#endif 
```
